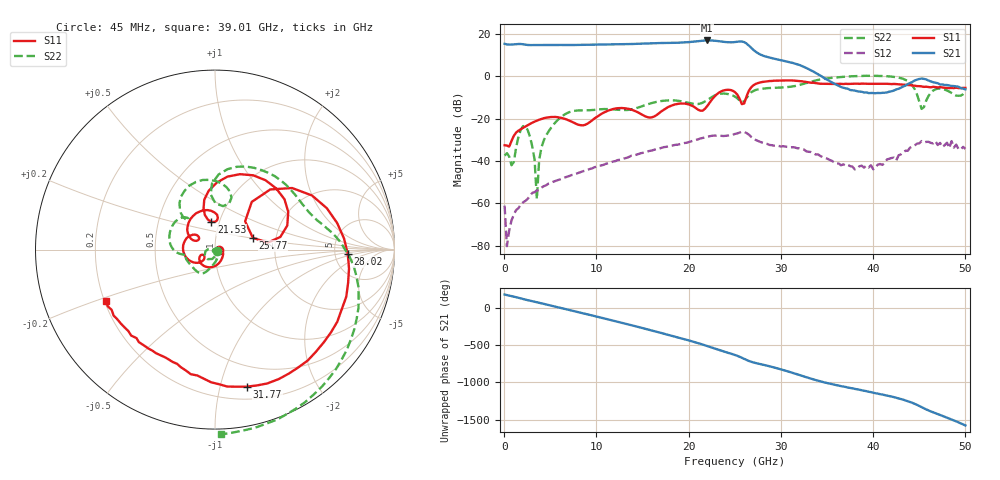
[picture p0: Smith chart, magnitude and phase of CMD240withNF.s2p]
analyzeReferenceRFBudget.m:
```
%% Analyze Reference RF Budget Chain
% RF budget analysis for the reference chain described in
% "Agentic AI Antenna-to-bits Reference Chain.docx".

clear; clc; close all;

projectRoot = fileparts(mfilename("fullpath"));
helpersDir = fullfile(projectRoot, "helpers");
resultsDir = fullfile(projectRoot, "rf_budget_results");

addpath(helpersDir);
if ~isfolder(resultsDir)
    mkdir(resultsDir);
end

%% Global parameters
fIF = 4e9;
fLO = 8e9;
fRF = fIF + fLO;
BW = 100e6;
PinLinear = -20;       % dBm
N = 4;                 % baseline dipole array size
paprEstimate = 10;     % dB, representative 5G NR PAPR
compressionMargin = 3; % dB, peak drive beyond PA P1dB estimate

%% Stage 1 - IF filter, BFIC #1
ifFilter = rffilter( ...
    "Name", "IFfilter", ...
    "FilterType", "InverseChebyshev", ...
    "ResponseType", "Bandpass", ...
    "FilterOrder", 5, ...
    "PassbandFrequency", fIF + [-BW/2 BW/2], ...
    "PassbandAttenuation", 3);

%% Stage 2 - Driver amplifier, BFIC #2
driverAmp = amplifier( ...
    "Name", "DriverAmp", ...
    "Model", "sparam", ...
    "FileName", fullfile(helpersDir, "CMD240withNF.s2p"), ...
    "OIP3", 28, ...
    "OP1dB", 19, ...
    "OPsat", 22);

%% Stage 3 - RF tuner / upconverter, BFIC #3
rfTuner = modulator( ...
    "Name", "RFtuner", ...
    "Model", "mod", ...
    "LO", fLO, ...
    "ConverterType", "Up", ...
    "Gain", 6, ...
    "NF", 3, ...
    "OIP3", 32);

%% Stage 4 - Wilkinson corporate splitter, BFIC #4
splitterData = load(fullfile(helpersDir, "WilkinsonSplitterData.mat"), ...
    "splitterSparam");
splitter = nport(splitterData.splitterSparam, "WilkinsonSplitter");
splitter.Input = 1;
splitter.Output = 2;
splitter.Termination = 50;

%% Stage 5 - Power amplifier
pa = amplifier( ...
    "Name", "PA", ...
    "Model", "poly", ...
    "Gain", 25, ...
    "NF", 6, ...
    "OIP3", 45, ...
    "OP1dB", 33, ...
    "OPsat", 37.5);

%% Stage 6 - Baseline antenna element
rfAntenna = design(dipole, fRF);
antennaSparam = sparameters(rfAntenna, fRF);
antennaGain = pattern(rfAntenna, fRF, 0, 0);
budgetAntenna = rfantenna( ...
    "Name", "DipoleAnt", ...
    "Type", "Transmitter", ...
    "Gain", antennaGain, ...
    "Z", s2z(antennaSparam.Parameters));

%% Build RF budget
elements = [ifFilter driverAmp rfTuner splitter pa budgetAntenna];
budget = rfbudget( ...
    "Elements", elements, ...
    "InputFrequency", fIF, ...
    "AvailableInputPower", PinLinear, ...
    "SignalBandwidth", BW);

stageNames = ["IF filter"; "Driver amp"; "RF tuner"; ...
    "Wilkinson splitter"; "Power amp"; "Dipole antenna"];
stageTable = table( ...
    stageNames, ...
    budget.OutputFrequency(:)/1e9, ...
    budget.TransducerGain(:), ...
    budget.NF(:), ...
    budget.OIP3(:), ...
    budget.OutputPower(:), ...
    'VariableNames', ["Stage", "OutputFreq_GHz", "GainT_dB", ...
    "NF_dB", "OIP3_dBm", "Pout_dBm"]);

disp("Reference RF budget, representative path");
disp(stageTable);

%% Estimate baseline array EIRP
paStage = 5;
paOutputLinear = budget.OutputPower(paStage);

antennaArray = design(linearArray("Element", rfAntenna), fRF, rfAntenna);
antennaArray.NumElements = N;
arrayDirectivity = peakRadiation(antennaArray, fRF);
eirpLinear = paOutputLinear + arrayDirectivity + 10*log10(N);

fprintf("\nLinear baseline\n");
fprintf("Input power: %.1f dBm\n", PinLinear);
fprintf("PA output per path: %.2f dBm\n", paOutputLinear);
fprintf("%d-dipole array directivity: %.2f dBi\n", N, arrayDirectivity);
fprintf("Estimated array EIRP: %.2f dBm\n", eirpLinear);

%% Compare Friis and Harmonic Balance near PA compression
gainToPAOutput = budget.TransducerGain(paStage);
pinAtP1dB = pa.OP1dB - gainToPAOutput;

budget.AvailableInputPower = pinAtP1dB;
budget.Solver = "Friis";
paOutputP1dBFriis = budget.OutputPower(paStage);

budget.Solver = "HarmonicBalance";
paOutputP1dBHB = budget.OutputPower(paStage);

pinDriven = pinAtP1dB - paprEstimate + compressionMargin;
budget.AvailableInputPower = pinDriven;
paOutputDriven = budget.OutputPower(paStage);
eirpDriven = paOutputDriven + arrayDirectivity + 10*log10(N);

fprintf("\nPA drive comparison\n");
fprintf("Estimated CW input at PA P1dB: %.2f dBm\n", pinAtP1dB);
fprintf("PA output at P1dB input, Friis: %.2f dBm\n", paOutputP1dBFriis);
fprintf("PA output at P1dB input, HarmonicBalance: %.2f dBm\n", paOutputP1dBHB);
fprintf("Selected modulated drive: %.2f dBm\n", pinDriven);
fprintf("Driven PA output per path, HarmonicBalance: %.2f dBm\n", paOutputDriven);
fprintf("Driven estimated array EIRP: %.2f dBm\n", eirpDriven);

%% Save budget plots
budget.AvailableInputPower = PinLinear;
budget.Solver = "Friis";

fig = figure("Name", "RF Budget Metrics");
tiledlayout(fig, 2, 2);
stageIndex = 1:numel(stageNames);
stageLabels = cellstr(stageNames);
plotOIP3 = budget.OIP3(:);
plotOIP3(isinf(plotOIP3)) = NaN;

nexttile;
bar(stageIndex, budget.OutputPower(:));
title("Output Power");
ylabel("dBm");
grid on;
set(gca, "XTick", stageIndex, "XTickLabel", stageLabels);
xtickangle(35);

nexttile;
bar(stageIndex, budget.TransducerGain(:));
title("Transducer Gain");
ylabel("dB");
grid on;
set(gca, "XTick", stageIndex, "XTickLabel", stageLabels);
xtickangle(35);

nexttile;
bar(stageIndex, budget.NF(:));
title("Noise Figure");
ylabel("dB");
grid on;
set(gca, "XTick", stageIndex, "XTickLabel", stageLabels);
xtickangle(35);

nexttile;
bar(stageIndex, plotOIP3);
title("OIP3");
ylabel("dBm");
grid on;
set(gca, "XTick", stageIndex, "XTickLabel", stageLabels);
xtickangle(35);

exportgraphics(fig, fullfile(resultsDir, "reference_rf_budget_metrics.png"), ...
    "Resolution", 150);

fig = figure("Name", "4-Dipole Array Pattern");
pattern(antennaArray, fRF);
title("4-Dipole Array Pattern at 12 GHz");
exportgraphics(fig, fullfile(resultsDir, "dipole_array_pattern.png"), ...
    "Resolution", 150);

fprintf("\nSaved plots to:\n%s\n", resultsDir);

% Uncomment to inspect the chain interactively.
% rfBudgetAnalyzer(budget);
```
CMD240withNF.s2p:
# GHz S RI R 50
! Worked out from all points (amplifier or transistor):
!   201 points, 45 MHz to 50 GHz, reference 50 ohm
!   highest |S21| = 17.0 dB at 22.03 GHz (marker M1)
!   |S21| within 3 dB of that: start of sweep to 26.66 GHz
!   unconditionally stable (mu >= 1): start of sweep to 37.12 GHz; 41.81 GHz to end of sweep
!   at 8.288 GHz: K = 16.05, MAG = 15.0 dB, |S12| = -45.2 dB
!   at 25.02 GHz: K = 1.48, MAG = 17.6 dB, |S12| = -27.2 dB
!   at 50 GHz: K = 30.69, MAG = -3.8 dB, |S12| = -34.3 dB
!   lowest NFmin = 1.80 dB at 8 GHz
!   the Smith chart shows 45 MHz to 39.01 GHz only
!   S11 on the Smith chart (normalised r, x): 45 MHz: 1.05, -0.00; 21.53 GHz: 0.92, +0.29; 25.77 GHz: 1.52, +0.21; 28.02 GHz: 6.62, -0.68; 31.77 GHz: 0.31, -1.21; 39.01 GHz: 0.21, -0.21
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0.045  0.0236 -0.00218  -5.864 0.2441  -0.000436 -0.000772  0.00881 -0.0101
12.53375  -0.1784 0.00687  -5.533 1.44  -0.0103 0.00324  -0.1573 -0.0356
17.77903  -0.1547 0.109  6.16 -0.3081  0.0217 0.00468  -0.2456 0.1137
21.52565  -0.0197 0.1541  -4.766 -5.073  -0.0116 -0.0332  -0.1668 0.1716
22.0252  -0.0565 0.193  -6.303 -3.165  -0.0234 -0.0298  -0.1899 0.2032
25.27227  0.3641 0.0705  1.583 6.379  -0.0118 0.0434  0.0917 0.2888
25.77182  0.2106 0.0661  4.288 5.103  0.00907 0.0486  0.0449 0.242
28.0198  0.7397 -0.0233  2.313 -2.086  0.0268 -0.00388  0.2582 0.443
31.76642  0.1783 -0.7636  -1.903 -0.2775  -0.00638 -0.0191  0.5908 0.146
39.0099  -0.6076 -0.2853  0.3541 -0.2205  0.00578 0.00396  0.0335 -1.03
50  0.0684 0.5299  -0.3644 -0.3338  0.0181 -0.00673  -0.2507 -0.3443
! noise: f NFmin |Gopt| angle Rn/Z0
2  4  0  0  37.5
4  2.9  0  0  23.75
6  2.2  0  0  15
8  1.8  0  0  10
10  2.2  0  0  15
12  2  0  0  12.5
14  2.1  0  0  13.75
16  2.3  0  0  16.25
18  2.4  0  0  17.5
22  3.7  0  0  33.75
